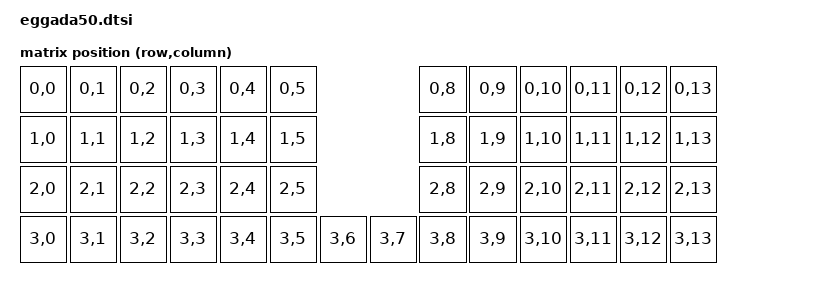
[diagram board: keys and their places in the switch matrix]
#include <dt-bindings/zmk/matrix_transform.h> // Put this with the other includes at the top of your dtsi

/ {
    default_transform: keymap_transform0 {
        compatible = "zmk,matrix-transform";
        columns = <14>;
        rows = <4>;
        // map = <
        // //  LKey 1 |LKey 2 |LKey 3      RKey 1 |RKey 2 |RKey 3
        //     RC(0,0) RC(0,1) RC(0,2)     RC(0,3) RC(0,4) RC(0,5)
        // //  LKey 4 |LKey 5 |LKey 6      RKey 4 |RKey 5 |RKey 6
        //     RC(1,0) RC(1,1) RC(1,2)     RC(1,3) RC(1,4) RC(1,5)
        // //  LKey 7 |LKey 8 |LKey 9      RKey 7 |RKey 8 |RKey 9
        //     RC(2,0) RC(2,1) RC(2,2)     RC(2,3) RC(2,4) RC(2,5)
        // >;
        map = <
            //  LSW01   | LSW02     | LSW03     | LSW04     | LSW05     | LSW06     |                               | RSW06     | RSW05     | RSW04     | RSW03     | RSW02     | RSW01     |
            //  LSW07   | LSW08     | LSW09     | LSW10     | LSW11     | LSW12     |                               | RSW12     | RSW11     | RSW10     | RSW09     | RSW08     | RSW07     |
            //  LSW13   | LSW14     | LSW15     | LSW16     | LSW17     | LSW18     |                               | RSW18     | RSW17     | RSW16     | RSW15     | RSW14     | RSW13     |
            //  LSW19   | LSW20     | LSW21     | LSW22     | LSW23     | LSW24     | LSW25     |     | RSW25       | RSW24     | RSW23     | RSW22     | RSW21     | RSW20     | RSW19     |

            RC(0,0) RC(0,1) RC(0,2) RC(0,3) RC(0,4) RC(0,5)                     RC(0,8) RC(0,9) RC(0,10) RC(0,11) RC(0,12) RC(0,13)
            RC(1,0) RC(1,1) RC(1,2) RC(1,3) RC(1,4) RC(1,5)                     RC(1,8) RC(1,9) RC(1,10) RC(1,11) RC(1,12) RC(1,13)
            RC(2,0) RC(2,1) RC(2,2) RC(2,3) RC(2,4) RC(2,5)                     RC(2,8) RC(2,9) RC(2,10) RC(2,11) RC(2,12) RC(2,13)
            RC(3,0) RC(3,1) RC(3,2) RC(3,3) RC(3,4) RC(3,5) RC(3,6)     RC(3,7) RC(3,8) RC(3,9) RC(3,10) RC(3,11) RC(3,12) RC(3,13)

        >;
    };

    kscan0: kscan {
        wakeup-source;
    };
};
